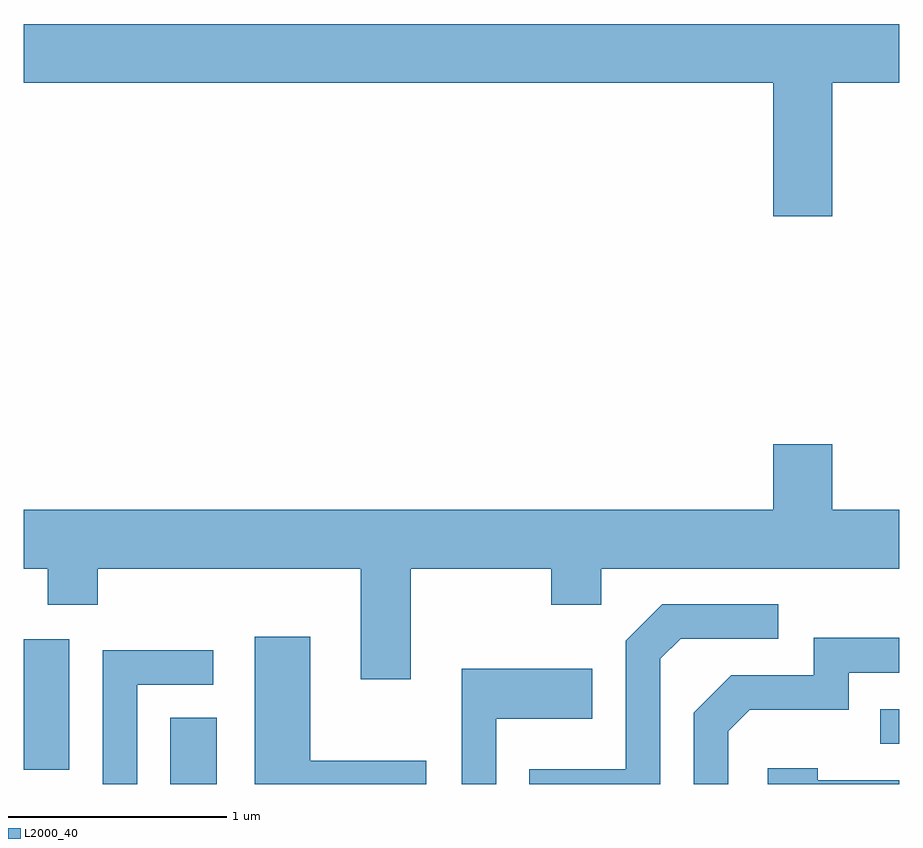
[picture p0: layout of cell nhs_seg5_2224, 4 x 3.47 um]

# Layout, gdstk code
import gdstk
lib = gdstk.Library(unit=1e-6, precision=1e-09)
def R(c, l, rs):  # rectangles x0, y0, x1, y1
    for r in rs: c.add(gdstk.rectangle(r[:2], r[2:], *l))
def P(c, l, *ps):  # polygons
    for p in ps: c.add(gdstk.Polygon(p, *l))
L2000_40 = (2000, 40)

nhs_seg5_2224 = lib.new_cell('nhs_seg5_2224')
R(nhs_seg5_2224, L2000_40, [(252.281,1418.072,252.494,1418.374), (251.611,1418.136,251.819,1418.734), (255.523,1418.256,255.611,1418.414)])
P(nhs_seg5_2224, L2000_40, [(255.304,1421.276),(255.611,1421.276),(255.611,1421.544),(251.611,1421.544),(251.611,1421.276),(255.036,1421.276),(255.036,1420.666),(255.304,1420.666)],
  [(255.036,1419.624),(255.036,1419.324),(251.611,1419.324),(251.611,1419.056),(251.721,1419.056),(251.721,1418.891),(251.949,1418.891),(251.949,1419.056),(253.151,1419.056),(253.151,1418.551),(253.379,1418.551),(253.379,1419.056),(254.021,1419.056),(254.021,1418.891),(254.249,1418.891),(254.249,1419.056),(255.611,1419.056),(255.611,1419.324),(255.304,1419.324),(255.304,1419.624)],
  [(254.519,1418.644),(254.612,1418.736),(255.058,1418.736),(255.058,1418.894),(254.529,1418.894),(254.361,1418.727),(254.361,1418.139),(253.921,1418.139),(253.921,1418.072),(254.519,1418.072)],
  [(253.449,1418.179),(252.919,1418.179),(252.919,1418.744),(252.666,1418.744),(252.666,1418.072),(253.449,1418.072)],
  [(254.829,1418.314),(254.927,1418.411),(255.379,1418.411),(255.379,1418.581),(255.611,1418.581),(255.611,1418.739),(255.221,1418.739),(255.221,1418.569),(254.844,1418.569),(254.671,1418.397),(254.671,1418.072),(254.829,1418.072)],
  [(252.129,1418.526),(252.478,1418.526),(252.478,1418.684),(251.971,1418.684),(251.971,1418.072),(252.129,1418.072)],
  [(253.769,1418.371),(254.209,1418.371),(254.209,1418.599),(253.611,1418.599),(253.611,1418.072),(253.769,1418.072)],
  [(255.611,1418.089),(255.239,1418.089),(255.239,1418.144),(255.011,1418.144),(255.011,1418.072),(255.611,1418.072)])

lib.write_gds('nhs_seg5_2224.gds')
